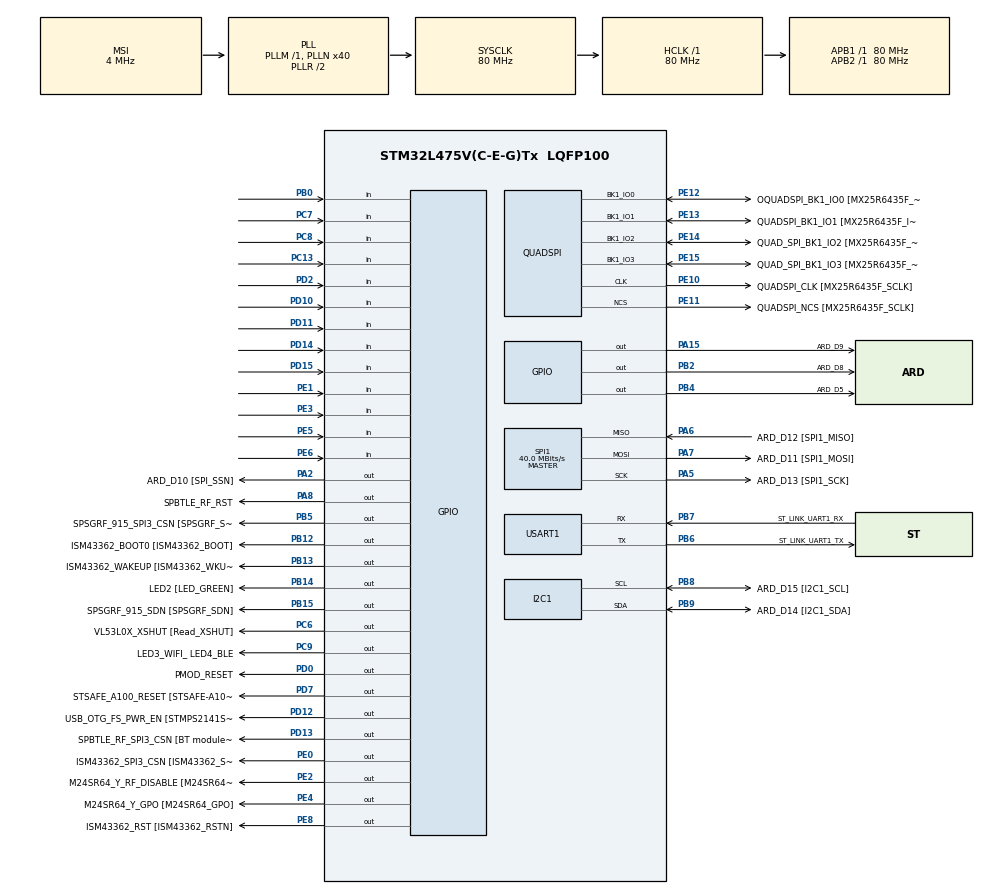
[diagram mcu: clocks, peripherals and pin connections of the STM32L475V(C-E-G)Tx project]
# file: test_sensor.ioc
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I2C1.Timing=0x10909CEC
Mcu.Family=STM32L4
Mcu.Name=STM32L475V(C-E-G)Tx
Mcu.Package=LQFP100
NVIC.PriorityGroup=NVIC_PRIORITYGROUP_4
NVIC.TIM6_DAC_IRQn=true\:0\:0\:false\:false\:true\:true\:true\:true
PA0.GPIO_Label=ARD_D1 [UART4_TX]
PA0.Signal=UART4_TX
PA1.GPIO_Label=ARD_D0 [UART4_RX]
PA1.Signal=UART4_RX
PA10.GPIO_Label=USB_OTG_FS_ID
PA10.Signal=USB_OTG_FS_ID
PA11.GPIO_Label=USB_OTG_FS_DM
PA11.Signal=USB_OTG_FS_DM
PA12.GPIO_Label=USB_OTG_FS_DP
PA12.Signal=USB_OTG_FS_DP
PA13\ (JTMS-SWDIO).GPIO_Label=SYS_JTMS_SWDIO
PA13\ (JTMS-SWDIO).Signal=SYS_JTMS-SWDIO
PA14\ (JTCK-SWCLK).GPIO_Label=SYS_JTCK_SWCLK
PA14\ (JTCK-SWCLK).Signal=SYS_JTCK-SWCLK
PA15\ (JTDI).GPIO_Label=ARD_D9
PA15\ (JTDI).Signal=GPIO_Output
PA2.GPIO_Label=ARD_D10 [SPI_SSN]
PA2.Signal=GPIO_Output
PA3.GPIO_Label=ARD_D4
PA3.Signal=S_TIM2_CH4
PA4.GPIO_Label=ARD_D7
PA4.Signal=ADCx_IN9
PA5.GPIO_Label=ARD_D13 [SPI1_SCK]
PA5.Mode=Full_Duplex_Master
PA5.Signal=SPI1_SCK
PA6.GPIO_Label=ARD_D12 [SPI1_MISO]
PA6.Mode=Full_Duplex_Master
PA6.Signal=SPI1_MISO
PA7.GPIO_Label=ARD_D11 [SPI1_MOSI]
PA7.Mode=Full_Duplex_Master
PA7.Signal=SPI1_MOSI
PA8.GPIO_Label=SPBTLE_RF_RST
PA8.Signal=GPIO_Output
PA9.GPIO_Label=USB_OTG_FS_VBUS [STMPS2141STR_OUT]
PA9.Signal=USB_OTG_FS_VBUS
PB0.Signal=GPIO_Input
PB1.GPIO_Label=ARD_D6 [ADC1_IN6]
PB1.Signal=ADCx_IN16
PB10.GPIO_Label=INTERNAL_I2C2_SCL [VL53L0X_SCL]
PB10.Signal=I2C2_SCL
PB11.GPIO_Label=INTERNAL_I2C2_SDA [VL53L0X_SDA]
PB11.Signal=I2C2_SDA
PB12.GPIO_Label=ISM43362_BOOT0 [ISM43362_BOOT]
PB12.Signal=GPIO_Output
PB13.GPIO_Label=ISM43362_WAKEUP [ISM43362_WKUP]
PB13.Signal=GPIO_Output
PB14.GPIO_Label=LED2 [LED_GREEN]
PB14.Signal=GPIO_Output
PB15.GPIO_Label=SPSGRF_915_SDN [SPSGRF_SDN]
PB15.Signal=GPIO_Output
PB2.GPIO_Label=ARD_D8
PB2.Signal=GPIO_Output
PB3\ (JTDO-TRACESWO).GPIO_Label=SYS_JTD0_SWO
PB3\ (JTDO-TRACESWO).Signal=SYS_JTDO-SWO
PB4\ (NJTRST).GPIO_Label=ARD_D5
PB4\ (NJTRST).Signal=GPIO_Output
PB5.GPIO_Label=SPSGRF_915_SPI3_CSN [SPSGRF_SPI_CS]
PB5.PinState=GPIO_PIN_SET
PB5.Signal=GPIO_Output
PB6.GPIO_Label=ST_LINK_UART1_TX
PB6.Mode=Asynchronous
PB6.Signal=USART1_TX
PB7.GPIO_Label=ST_LINK_UART1_RX
PB7.Mode=Asynchronous
PB7.Signal=USART1_RX
PB8.GPIO_Label=ARD_D15 [I2C1_SCL]
PB8.Mode=I2C
PB8.Signal=I2C1_SCL
PB9.GPIO_Label=ARD_D14 [I2C1_SDA]
PB9.Mode=I2C
PB9.Signal=I2C1_SDA
PC0.GPIO_Label=ARD_A5 [ADC]
PC0.Signal=ADCx_IN1
PC1.GPIO_Label=ARD_A4 [ADC]
PC1.Signal=ADCx_IN2
PC10.GPIO_Label=INTERNAL_SPI3_SCK [BT module_SPI_SCLK] [ISM43362_SCK]
PC10.Signal=SPI3_SCK
PC11.GPIO_Label=INTERNAL_SPI3_MISO [BT module_SPI_MISO] [ISM43362_MISO]
PC11.Signal=SPI3_MISO
PC12.GPIO_Label=INTERNAL_SPI3_MOSI [BT module_SPI_MOSI] [ISM43362_MOSI]
PC12.Signal=SPI3_MOSI
PC13.Signal=GPIO_Input
PC14-OSC32_IN\ (PC14).Signal=RCC_OSC32_IN
PC15-OSC32_OUT\ (PC15).Signal=RCC_OSC32_OUT
PC2.GPIO_Label=ARD_A3 [ADC]
PC2.Signal=ADCx_IN3
PC3.GPIO_Label=ARD_A2 [ADC]
PC3.Signal=ADCx_IN4
PC4.GPIO_Label=ARD_A1 [ADC]
PC4.Signal=ADCx_IN13
PC5.GPIO_Label=ARD_A0 [ADC]
PC5.Signal=ADCx_IN14
PC6.GPIO_Label=VL53L0X_XSHUT [Read_XSHUT]
PC6.Signal=GPIO_Output
PC7.Signal=GPIO_Input
PC8.Signal=GPIO_Input
PC9.GPIO_Label=LED3_WIFI_ LED4_BLE
PC9.Signal=GPIO_Output
PD0.GPIO_Label=PMOD_RESET
PD0.Signal=GPIO_Output
PD1.GPIO_Label=PMOD_SPI2_SCK
PD1.Signal=SPI2_SCK
PD10.Signal=GPIO_Input
PD11.Signal=GPIO_Input
PD12.GPIO_Label=USB_OTG_FS_PWR_EN [STMPS2141STR_EN]
PD12.Signal=GPIO_Output
PD13.GPIO_Label=SPBTLE_RF_SPI3_CSN [BT module_SPI_CS]
PD13.PinState=GPIO_PIN_SET
PD13.Signal=GPIO_Output
PD14.Signal=GPIO_Input
PD15.Signal=GPIO_Input
PD2.Signal=GPIO_Input
PD3.GPIO_Label=PMOD_UART2_CTS
PD3.Signal=USART2_CTS
PD4.GPIO_Label=PMOD_UART2_RTS
PD4.Signal=USART2_RTS
PD5.GPIO_Label=PMOD_UART2_TX
PD5.Signal=USART2_TX
PD6.GPIO_Label=PMOD_UART2_RX
PD6.Signal=USART2_RX
PD7.GPIO_Label=STSAFE_A100_RESET [STSAFE-A100_RESET]
PD7.Signal=GPIO_Output
PD8.GPIO_Label=INTERNAL_UART3_TX [ISM43362_RX]
PD8.Signal=USART3_TX
PD9.GPIO_Label=INTERNAL_UART3_RX [ISM43362_TX]
PD9.Signal=USART3_RX
PE0.GPIO_Label=ISM43362_SPI3_CSN [ISM43362_SSN]
PE0.PinState=GPIO_PIN_SET
PE0.Signal=GPIO_Output
PE1.Signal=GPIO_Input
PE10.GPIO_Label=QUADSPI_CLK [MX25R6435F_SCLK]
PE10.Mode=Single Bank
PE10.Signal=QUADSPI_CLK
PE11.GPIO_Label=QUADSPI_NCS [MX25R6435F_SCLK]
PE11.Mode=Single Bank
PE11.Signal=QUADSPI_NCS
PE12.GPIO_Label=OQUADSPI_BK1_IO0 [MX25R6435F_IO0]
PE12.Mode=Single Bank
PE12.Signal=QUADSPI_BK1_IO0
PE13.GPIO_Label=QUADSPI_BK1_IO1 [MX25R6435F_IO1]
PE13.Mode=Single Bank
PE13.Signal=QUADSPI_BK1_IO1
PE14.GPIO_Label=QUAD_SPI_BK1_IO2 [MX25R6435F_IO2]
PE14.Mode=Single Bank
PE14.Signal=QUADSPI_BK1_IO2
PE15.GPIO_Label=QUAD_SPI_BK1_IO3 [MX25R6435F_IO3]
PE15.Mode=Single Bank
PE15.Signal=QUADSPI_BK1_IO3
PE2.GPIO_Label=M24SR64_Y_RF_DISABLE [M24SR64_RFDIS]
PE2.Signal=GPIO_Output
PE3.Signal=GPIO_Input
PE4.GPIO_Label=M24SR64_Y_GPO [M24SR64_GPO]
PE4.Signal=GPIO_Output
PE5.Signal=GPIO_Input
PE6.Signal=GPIO_Input
PE7.GPIO_Label=DFSDM1_DATIN2 [MP34DT01_DOUT]
PE7.Signal=S_DATAIN2DFSDM1
PE8.GPIO_Label=ISM43362_RST [ISM43362_RSTN]
PE8.Signal=GPIO_Output
PE9.GPIO_Label=DFSDM1_CKOUT [MP34DT01_CLK]
PE9.Signal=S_CKOUTDFSDM1
ProjectManager.HeapSize=0x200
ProjectManager.StackSize=0x400
ProjectManager.TargetToolchain=STM32CubeIDE
RCC.ADCFreq_Value=48000000
RCC.AHBFreq_Value=80000000
RCC.APB1Freq_Value=80000000
RCC.APB1TimFreq_Value=80000000
RCC.APB2Freq_Value=80000000
RCC.APB2TimFreq_Value=80000000
RCC.CortexFreq_Value=80000000
RCC.HCLKFreq_Value=80000000
RCC.HSE_VALUE=8000000
RCC.HSI_VALUE=16000000
RCC.LSE_VALUE=32768
RCC.MSI_VALUE=4000000
RCC.PLLN=40
RCC.PLLSAI1N=24
RCC.SYSCLKFreq_VALUE=80000000
RCC.SYSCLKSource=RCC_SYSCLKSOURCE_PLLCLK
RCC.USBFreq_Value=48000000
RCC.VCOOutputFreq_Value=160000000
SH.ADCx_IN1.0=ADC1_IN1
SH.ADCx_IN13.0=ADC1_IN13
SH.ADCx_IN14.0=ADC1_IN14
SH.ADCx_IN16.0=ADC1_IN16
SH.ADCx_IN2.0=ADC1_IN2
SH.ADCx_IN3.0=ADC1_IN3
SH.ADCx_IN4.0=ADC1_IN4
SH.ADCx_IN9.0=ADC1_IN9
SH.S_CKOUTDFSDM1.0=DFSDM1_CKOUT
SH.S_DATAIN2DFSDM1.0=DFSDM1_DATIN2
SH.S_TIM2_CH4.0=TIM2_CH4
SPI1.CalculateBaudRate=40.0 MBits/s
SPI1.DataSize=SPI_DATASIZE_8BIT
SPI1.Direction=SPI_DIRECTION_2LINES
SPI1.Mode=SPI_MODE_MASTER
SPI1.VirtualType=VM_MASTER
TIM6.Period=500-1
TIM6.Prescaler=8000-1
USART1.VirtualMode-Asynchronous=VM_ASYNC
VP_TIM6_VS_ClockSourceINT.Mode=Enable_Timer
board=B-L475E-IOT01A1

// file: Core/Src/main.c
/* USER CODE BEGIN Header */
/**
  ******************************************************************************
  * @file           : main.c
  * @brief          : Main program body
  ******************************************************************************
  * @attention
  *author Negar Matin
  *
  ******************************************************************************
  */
/* USER CODE END Header */
#include "main.h"

/* USER CODE BEGIN Includes */
#include "button.h"
#include "led.h"

#ifdef __GNUC__
/* With GCC/RAISONANCE, small msg_info (option LD Linker->Libraries->Small msg_info
   set to 'Yes') calls __io_putchar() */
#define PUTCHAR_PROTOTYPE int __io_putchar(int ch)
#define GETCHAR_PROTOTYPE int __io_getchar(void)
#else
#define PUTCHAR_PROTOTYPE int fputc(int ch, FILE *f)
#define GETCHAR_PROTOTYPE int fgetc(FILE *f)
#endif /* __GNUC__ */
/* USER CODE END Includes */

/* USER CODE BEGIN PD */
  #define KEY_SAMPLE_PERIOD   50 //ms
/* USER CODE END PD */

I2C_HandleTypeDef hi2c1;

QSPI_HandleTypeDef hqspi;

SPI_HandleTypeDef hspi1;

TIM_HandleTypeDef htim6;

UART_HandleTypeDef huart1;

/* USER CODE BEGIN PV */
  extern UART_HandleTypeDef hDiscoUart;
  static const Key_PinConfig KEY_PIN_CONFIGS[] = {
    {BTN0_GPIO_Port, BTN0_Pin},
    //{BTN1_GPIO_Port, BTN1_Pin},
  };
#define KEY_LEN 1
static  Key keys[KEY_LEN] = {0};
static volatile uint32_t sensor_flag = 1;
uint8_t counter = 0;
/* USER CODE END PV */

void SystemClock_Config(void);
static void MX_GPIO_Init(void);
static void MX_TIM6_Init(void);
static void MX_I2C1_Init(void);
static void MX_QUADSPI_Init(void);
static void MX_SPI1_Init(void);
static void MX_USART1_UART_Init(void);
/* USER CODE BEGIN PFP */
uint8_t Btn0_onPressed(Key* key, Key_State state);

uint8_t Btn1_onPressed(Key* key, Key_State state);
uint8_t Btn1_onHold(Key* key, Key_State state);
uint8_t Btn1_onReleased(Key* key, Key_State state);
/* USER CODE END PFP */

int main(void)
{
  /* USER CODE BEGIN 1 */
  uint32_t next_scan = 0;
  uint32_t keyNextSample = 0;

  /* USER CODE END 1 */

  /* MCU Configuration--------------------------------------------------------*/

  /* Reset of all peripherals, Initializes the Flash interface and the Systick. */
  HAL_Init();

  /* USER CODE BEGIN Init */
  //SysTick_Config(SystemCoreClock/1000);
  /* USER CODE END Init */

  /* Configure the system clock */
  SystemClock_Config();

  /* Initialize all configured peripherals */
  MX_GPIO_Init();
  MX_TIM6_Init();
  MX_I2C1_Init();
  //MX_QUADSPI_Init();
  MX_SPI1_Init();
  MX_USART1_UART_Init();
  ILI9341_Init();
  /* USER CODE BEGIN 2 */
  /* Initialize all configured peripherals */
   hDiscoUart.Instance = DISCOVERY_COM1;
   hDiscoUart.Init.BaudRate = 115200;
   hDiscoUart.Init.WordLength = UART_WORDLENGTH_8B;
   hDiscoUart.Init.StopBits = UART_STOPBITS_1;
   hDiscoUart.Init.Parity = UART_PARITY_NONE;
   hDiscoUart.Init.Mode = UART_MODE_TX_RX;
   hDiscoUart.Init.HwFlowCtl = UART_HWCONTROL_NONE;
   hDiscoUart.Init.OverSampling = UART_OVERSAMPLING_16;
   hDiscoUart.Init.OneBitSampling = UART_ONE_BIT_SAMPLE_DISABLE;
   hDiscoUart.AdvancedInit.AdvFeatureInit = UART_ADVFEATURE_NO_INIT;

   BSP_COM_Init(COM1, &hDiscoUart);

   //printf("Press User button to put LED2 ON \n");
   //Btn_init(BTN0_GPIO_Port, BTN0_Pin);
   Led_init(LED2_GPIO_Port, LED2_Pin);
   Key_init(keys, KEY_PIN_CONFIGS, KEY_LEN);

   keys[0].Callbacks.onPressed = Btn0_onPressed;

//   keys[1].Callbacks.onPressed = Btn1_onPressed;
//   keys[1].Callbacks.onHold = Btn1_onHold;
//   keys[1].Callbacks.onReleased = Btn1_onReleased;
  /* USER CODE END 2 */

  /* Infinite loop */
  /* USER CODE BEGIN WHILE */
   HAL_TIM_Base_Start_IT(&htim6);

   ILI9341_Fill_Screen(GREEN);
   //ILI9341_Draw_Text("hello from negar ", 10, 10, BLACK, 2, GREEN);

  while (1)
  {
    /* USER CODE END WHILE */

    /* USER CODE BEGIN 3 */
//    if(next_scan <= HAL_GetTick()){
//      next_scan = HAL_GetTick() + 1000;
    if(sensor_flag != 0  ){

      switch(counter){
      case 0:
          Temperature_Test();
    //      Humidity_Test();
    //      Pressure_Test();
    //      Magneto_Test();
    //      Gyro_Test();
    //      Accelero_Test();
          //sensor_flag = 0;
          HAL_Delay(50);
          break;

      case 1:
    //      Temperature_Test();
          Humidity_Test();
    //      Pressure_Test();
    //      Magneto_Test();
    //      Gyro_Test();
    //      Accelero_Test();
          //sensor_flag = 0;
          HAL_Delay(50);
          break;

      case 2:
    //      Temperature_Test();
    //      Humidity_Test();
          Pressure_Test();
    //      Magneto_Test();
    //      Gyro_Test();
    //      Accelero_Test();
          //sensor_flag = 0;
          HAL_Delay(50);
          break;

      }
      sensor_flag = 0;
    }

//    if (Btn_read(BTN0_GPIO_Port, BTN0_Pin) == 0) {
//
//      // Debounce
//      HAL_Delay(50);
//      // Pressed
//      Led_toggle(LED2_GPIO_Port, LED2_Pin);
//      // Hold
//      while (Btn_read(BTN0_GPIO_Port, BTN0_Pin) == 0) {
//
//      }
//      // Released
//
//      // Debounce
//      HAL_Delay(50);
//
//    }

  }
  /* USER CODE END 3 */
}

void SystemClock_Config(void)
{
  RCC_OscInitTypeDef RCC_OscInitStruct = {0};
  RCC_ClkInitTypeDef RCC_ClkInitStruct = {0};

  /** Configure the main internal regulator output voltage
  */
  if (HAL_PWREx_ControlVoltageScaling(PWR_REGULATOR_VOLTAGE_SCALE1) != HAL_OK)
  {
    Error_Handler();
  }

  /** Initializes the RCC Oscillators according to the specified parameters
  * in the RCC_OscInitTypeDef structure.
  */
  RCC_OscInitStruct.OscillatorType = RCC_OSCILLATORTYPE_MSI;
  RCC_OscInitStruct.MSIState = RCC_MSI_ON;
  RCC_OscInitStruct.MSICalibrationValue = 0;
  RCC_OscInitStruct.MSIClockRange = RCC_MSIRANGE_6;
  RCC_OscInitStruct.PLL.PLLState = RCC_PLL_ON;
  RCC_OscInitStruct.PLL.PLLSource = RCC_PLLSOURCE_MSI;
  RCC_OscInitStruct.PLL.PLLM = 1;
  RCC_OscInitStruct.PLL.PLLN = 40;
  RCC_OscInitStruct.PLL.PLLP = RCC_PLLP_DIV7;
  RCC_OscInitStruct.PLL.PLLQ = RCC_PLLQ_DIV2;
  RCC_OscInitStruct.PLL.PLLR = RCC_PLLR_DIV2;
  if (HAL_RCC_OscConfig(&RCC_OscInitStruct) != HAL_OK)
  {
    Error_Handler();
  }

  /** Initializes the CPU, AHB and APB buses clocks
  */
  RCC_ClkInitStruct.ClockType = RCC_CLOCKTYPE_HCLK|RCC_CLOCKTYPE_SYSCLK
                              |RCC_CLOCKTYPE_PCLK1|RCC_CLOCKTYPE_PCLK2;
  RCC_ClkInitStruct.SYSCLKSource = RCC_SYSCLKSOURCE_PLLCLK;
  RCC_ClkInitStruct.AHBCLKDivider = RCC_SYSCLK_DIV1;
  RCC_ClkInitStruct.APB1CLKDivider = RCC_HCLK_DIV1;
  RCC_ClkInitStruct.APB2CLKDivider = RCC_HCLK_DIV1;

  if (HAL_RCC_ClockConfig(&RCC_ClkInitStruct, FLASH_LATENCY_4) != HAL_OK)
  {
    Error_Handler();
  }
}

static void MX_I2C1_Init(void)
{

  hi2c1.Instance = I2C1;
  hi2c1.Init.Timing = 0x10909CEC;
  hi2c1.Init.OwnAddress1 = 0;
  hi2c1.Init.AddressingMode = I2C_ADDRESSINGMODE_7BIT;
  hi2c1.Init.DualAddressMode = I2C_DUALADDRESS_DISABLE;
  hi2c1.Init.OwnAddress2 = 0;
  hi2c1.Init.OwnAddress2Masks = I2C_OA2_NOMASK;
  hi2c1.Init.GeneralCallMode = I2C_GENERALCALL_DISABLE;
  hi2c1.Init.NoStretchMode = I2C_NOSTRETCH_DISABLE;
  if (HAL_I2C_Init(&hi2c1) != HAL_OK)
  {
    Error_Handler();
  }

  /** Configure Analogue filter
  */
  if (HAL_I2CEx_ConfigAnalogFilter(&hi2c1, I2C_ANALOGFILTER_ENABLE) != HAL_OK)
  {
    Error_Handler();
  }

  /** Configure Digital filter
  */
  if (HAL_I2CEx_ConfigDigitalFilter(&hi2c1, 0) != HAL_OK)
  {
    Error_Handler();
  }

}

static void MX_QUADSPI_Init(void)
{

  /* QUADSPI parameter configuration*/
  hqspi.Instance = QUADSPI;
  hqspi.Init.ClockPrescaler = 255;
  hqspi.Init.FifoThreshold = 1;
  hqspi.Init.SampleShifting = QSPI_SAMPLE_SHIFTING_NONE;
  hqspi.Init.FlashSize = 1;
  hqspi.Init.ChipSelectHighTime = QSPI_CS_HIGH_TIME_1_CYCLE;
  hqspi.Init.ClockMode = QSPI_CLOCK_MODE_0;
  if (HAL_QSPI_Init(&hqspi) != HAL_OK)
  {
    Error_Handler();
  }

}

static void MX_SPI1_Init(void)
{

  /* SPI1 parameter configuration*/
//  hspi1.Instance = SPI1;
//  hspi1.Init.Mode = SPI_MODE_MASTER;
//  hspi1.Init.Direction = SPI_DIRECTION_2LINES;
//  hspi1.Init.DataSize = SPI_DATASIZE_4BIT;
//  hspi1.Init.CLKPolarity = SPI_POLARITY_LOW;
//  hspi1.Init.CLKPhase = SPI_PHASE_1EDGE;
//  hspi1.Init.NSS = SPI_NSS_SOFT;
//  hspi1.Init.BaudRatePrescaler = SPI_BAUDRATEPRESCALER_2;
//  hspi1.Init.FirstBit = SPI_FIRSTBIT_MSB;
//  hspi1.Init.TIMode = SPI_TIMODE_DISABLE;
//  hspi1.Init.CRCCalculation = SPI_CRCCALCULATION_DISABLE;
//  hspi1.Init.CRCPolynomial = 7;
//  hspi1.Init.CRCLength = SPI_CRC_LENGTH_DATASIZE;
//  hspi1.Init.NSSPMode = SPI_NSS_PULSE_ENABLE;
//  if (HAL_SPI_Init(&hspi1) != HAL_OK)
//  {
//    Error_Handler();
//  }

  //.............................
  hspi1.Instance = SPI1;
  hspi1.Init.Mode = SPI_MODE_MASTER;
  hspi1.Init.Direction = SPI_DIRECTION_2LINES;
  hspi1.Init.DataSize = SPI_DATASIZE_8BIT;
  hspi1.Init.CLKPolarity = SPI_POLARITY_LOW;
  hspi1.Init.CLKPhase = SPI_PHASE_1EDGE;
  hspi1.Init.NSS = SPI_NSS_SOFT;
  hspi1.Init.BaudRatePrescaler = SPI_BAUDRATEPRESCALER_8;
  hspi1.Init.FirstBit = SPI_FIRSTBIT_MSB;
  hspi1.Init.TIMode = SPI_TIMODE_DISABLE;
  hspi1.Init.CRCCalculation = SPI_CRCCALCULATION_DISABLE;
  hspi1.Init.CRCPolynomial = 7;
  hspi1.Init.CRCLength = SPI_CRC_LENGTH_DATASIZE;
  hspi1.Init.NSSPMode = SPI_NSS_PULSE_ENABLE;
  if (HAL_SPI_Init(&hspi1) != HAL_OK)
  {
    Error_Handler();
  }

}

static void MX_TIM6_Init(void)
{

  TIM_MasterConfigTypeDef sMasterConfig = {0};

  htim6.Instance = TIM6;
  htim6.Init.Prescaler = 8000-1;
  htim6.Init.CounterMode = TIM_COUNTERMODE_UP;
  htim6.Init.Period = 500-1;
  htim6.Init.AutoReloadPreload = TIM_AUTORELOAD_PRELOAD_DISABLE;
  if (HAL_TIM_Base_Init(&htim6) != HAL_OK)
  {
    Error_Handler();
  }
  sMasterConfig.MasterOutputTrigger = TIM_TRGO_RESET;
  sMasterConfig.MasterSlaveMode = TIM_MASTERSLAVEMODE_DISABLE;
  if (HAL_TIMEx_MasterConfigSynchronization(&htim6, &sMasterConfig) != HAL_OK)
  {
    Error_Handler();
  }

}

static void MX_USART1_UART_Init(void)
{

  huart1.Instance = USART1;
  huart1.Init.BaudRate = 115200;
  huart1.Init.WordLength = UART_WORDLENGTH_8B;
  huart1.Init.StopBits = UART_STOPBITS_1;
  huart1.Init.Parity = UART_PARITY_NONE;
  huart1.Init.Mode = UART_MODE_TX_RX;
  huart1.Init.HwFlowCtl = UART_HWCONTROL_NONE;
  huart1.Init.OverSampling = UART_OVERSAMPLING_16;
  huart1.Init.OneBitSampling = UART_ONE_BIT_SAMPLE_DISABLE;
  huart1.AdvancedInit.AdvFeatureInit = UART_ADVFEATURE_NO_INIT;
  if (HAL_UART_Init(&huart1) != HAL_OK)
  {
    Error_Handler();
  }

}

static void MX_GPIO_Init(void)
{
  GPIO_InitTypeDef GPIO_InitStruct = {0};

  /* GPIO Ports Clock Enable */
  __HAL_RCC_GPIOE_CLK_ENABLE();
  __HAL_RCC_GPIOC_CLK_ENABLE();
  __HAL_RCC_GPIOA_CLK_ENABLE();
  __HAL_RCC_GPIOB_CLK_ENABLE();
  __HAL_RCC_GPIOD_CLK_ENABLE();

  /*Configure GPIO pin Output Level */
  HAL_GPIO_WritePin(GPIOE, M24SR64_Y_RF_DISABLE_Pin|M24SR64_Y_GPO_Pin|ISM43362_RST_Pin, GPIO_PIN_RESET);

  /*Configure GPIO pin Output Level */
  //HAL_GPIO_WritePin(GPIOA, ARD_D10_Pin|SPBTLE_RF_RST_Pin|ARD_D9_Pin, GPIO_PIN_RESET);

  /*Configure GPIO pin Output Level */
  HAL_GPIO_WritePin(GPIOB, ARD_D8_Pin|ISM43362_BOOT0_Pin|ISM43362_WAKEUP_Pin|LED2_Pin
                          |SPSGRF_915_SDN_Pin|ARD_D5_Pin, GPIO_PIN_RESET);

  /*Configure GPIO pin Output Level */
  HAL_GPIO_WritePin(GPIOD, USB_OTG_FS_PWR_EN_Pin|PMOD_RESET_Pin|STSAFE_A100_RESET_Pin, GPIO_PIN_RESET);

  /*Configure GPIO pin Output Level */
  HAL_GPIO_WritePin(SPBTLE_RF_SPI3_CSN_GPIO_Port, SPBTLE_RF_SPI3_CSN_Pin, GPIO_PIN_SET);

  /*Configure GPIO pin Output Level */
  HAL_GPIO_WritePin(GPIOC, VL53L0X_XSHUT_Pin|LED3_WIFI__LED4_BLE_Pin, GPIO_PIN_RESET);

  /*Configure GPIO pin Output Level */
  HAL_GPIO_WritePin(SPSGRF_915_SPI3_CSN_GPIO_Port, SPSGRF_915_SPI3_CSN_Pin, GPIO_PIN_SET);

  /*Configure GPIO pin Output Level */
  HAL_GPIO_WritePin(ISM43362_SPI3_CSN_GPIO_Port, ISM43362_SPI3_CSN_Pin, GPIO_PIN_SET);

  /*Configure GPIO pins : M24SR64_Y_RF_DISABLE_Pin M24SR64_Y_GPO_Pin ISM43362_RST_Pin ISM43362_SPI3_CSN_Pin */
  GPIO_InitStruct.Pin = M24SR64_Y_RF_DISABLE_Pin|M24SR64_Y_GPO_Pin|ISM43362_RST_Pin|ISM43362_SPI3_CSN_Pin;
  GPIO_InitStruct.Mode = GPIO_MODE_OUTPUT_PP;
  GPIO_InitStruct.Pull = GPIO_NOPULL;
  GPIO_InitStruct.Speed = GPIO_SPEED_FREQ_LOW;
  HAL_GPIO_Init(GPIOE, &GPIO_InitStruct);

  /*Configure GPIO pins : PE3 PE5 PE6 PE1 */
  GPIO_InitStruct.Pin = GPIO_PIN_3|GPIO_PIN_5|GPIO_PIN_6|GPIO_PIN_1;
  GPIO_InitStruct.Mode = GPIO_MODE_INPUT;
  GPIO_InitStruct.Pull = GPIO_NOPULL;
  HAL_GPIO_Init(GPIOE, &GPIO_InitStruct);

  /*Configure GPIO pins : PC13 PC7 PC8 */
  GPIO_InitStruct.Pin = GPIO_PIN_13|GPIO_PIN_7|GPIO_PIN_8;
  GPIO_InitStruct.Mode = GPIO_MODE_INPUT;
  GPIO_InitStruct.Pull = GPIO_NOPULL;
  HAL_GPIO_Init(GPIOC, &GPIO_InitStruct);

  /*Configure GPIO pins : ARD_A5_Pin ARD_A4_Pin ARD_A3_Pin ARD_A2_Pin
                           ARD_A1_Pin ARD_A0_Pin */
//  GPIO_InitStruct.Pin = ARD_A5_Pin|ARD_A4_Pin|ARD_A3_Pin|ARD_A2_Pin
//                          |ARD_A1_Pin|ARD_A0_Pin;
//  GPIO_InitStruct.Mode = GPIO_MODE_ANALOG_ADC_CONTROL;
//  GPIO_InitStruct.Pull = GPIO_NOPULL;
//  HAL_GPIO_Init(GPIOC, &GPIO_InitStruct);

  /*Configure GPIO pins : ARD_D1_Pin ARD_D0_Pin */
  GPIO_InitStruct.Pin = ARD_D1_Pin|ARD_D0_Pin;
  GPIO_InitStruct.Mode = GPIO_MODE_AF_PP;
  GPIO_InitStruct.Pull = GPIO_NOPULL;
  GPIO_InitStruct.Speed = GPIO_SPEED_FREQ_VERY_HIGH;
  GPIO_InitStruct.Alternate = GPIO_AF8_UART4;
  HAL_GPIO_Init(GPIOA, &GPIO_InitStruct);

  /*Configure GPIO pins : ARD_D10_Pin SPBTLE_RF_RST_Pin ARD_D9_Pin */
  GPIO_InitStruct.Pin = ARD_D10_Pin|SPBTLE_RF_RST_Pin|ARD_D9_Pin;
  GPIO_InitStruct.Mode = GPIO_MODE_OUTPUT_PP;
  GPIO_InitStruct.Pull = GPIO_NOPULL;
  GPIO_InitStruct.Speed = GPIO_SPEED_FREQ_LOW;
  HAL_GPIO_Init(GPIOA, &GPIO_InitStruct);

  /*Configure GPIO pin : ARD_D4_Pin */
  GPIO_InitStruct.Pin = ARD_D4_Pin;
  GPIO_InitStruct.Mode = GPIO_MODE_AF_PP;
  GPIO_InitStruct.Pull = GPIO_NOPULL;
  GPIO_InitStruct.Speed = GPIO_SPEED_FREQ_LOW;
  GPIO_InitStruct.Alternate = GPIO_AF1_TIM2;
  HAL_GPIO_Init(ARD_D4_GPIO_Port, &GPIO_InitStruct);

  /*Configure GPIO pin : ARD_D7_Pin */
  GPIO_InitStruct.Pin = ARD_D7_Pin;
  GPIO_InitStruct.Mode = GPIO_MODE_ANALOG_ADC_CONTROL;
  GPIO_InitStruct.Pull = GPIO_NOPULL;
  HAL_GPIO_Init(ARD_D7_GPIO_Port, &GPIO_InitStruct);

  /*Configure GPIO pin : PB0 */
  GPIO_InitStruct.Pin = GPIO_PIN_0;
  GPIO_InitStruct.Mode = GPIO_MODE_INPUT;
  GPIO_InitStruct.Pull = GPIO_NOPULL;
  HAL_GPIO_Init(GPIOB, &GPIO_InitStruct);

  /*Configure GPIO pin : ARD_D6_Pin */
  GPIO_InitStruct.Pin = ARD_D6_Pin;
  GPIO_InitStruct.Mode = GPIO_MODE_ANALOG_ADC_CONTROL;
  GPIO_InitStruct.Pull = GPIO_NOPULL;
  HAL_GPIO_Init(ARD_D6_GPIO_Port, &GPIO_InitStruct);

  /*Configure GPIO pins : ARD_D8_Pin ISM43362_BOOT0_Pin ISM43362_WAKEUP_Pin LED2_Pin
                           SPSGRF_915_SDN_Pin ARD_D5_Pin SPSGRF_915_SPI3_CSN_Pin */
  GPIO_InitStruct.Pin = ARD_D8_Pin|ISM43362_BOOT0_Pin|ISM43362_WAKEUP_Pin|LED2_Pin
                          |SPSGRF_915_SDN_Pin|ARD_D5_Pin|SPSGRF_915_SPI3_CSN_Pin;
  GPIO_InitStruct.Mode = GPIO_MODE_OUTPUT_PP;
  GPIO_InitStruct.Pull = GPIO_NOPULL;
  GPIO_InitStruct.Speed = GPIO_SPEED_FREQ_LOW;
  HAL_GPIO_Init(GPIOB, &GPIO_InitStruct);

  /*Configure GPIO pins : DFSDM1_DATIN2_Pin DFSDM1_CKOUT_Pin */
  GPIO_InitStruct.Pin = DFSDM1_DATIN2_Pin|DFSDM1_CKOUT_Pin;
  GPIO_InitStruct.Mode = GPIO_MODE_AF_PP;
  GPIO_InitStruct.Pull = GPIO_NOPULL;
  GPIO_InitStruct.Speed = GPIO_SPEED_FREQ_LOW;
  GPIO_InitStruct.Alternate = GPIO_AF6_DFSDM1;
  HAL_GPIO_Init(GPIOE, &GPIO_InitStruct);

  /*Configure GPIO pins : INTERNAL_I2C2_SCL_Pin INTERNAL_I2C2_SDA_Pin */
  GPIO_InitStruct.Pin = INTERNAL_I2C2_SCL_Pin|INTERNAL_I2C2_SDA_Pin;
  GPIO_InitStruct.Mode = GPIO_MODE_AF_OD;
  GPIO_InitStruct.Pull = GPIO_NOPULL;
  GPIO_InitStruct.Speed = GPIO_SPEED_FREQ_VERY_HIGH;
  GPIO_InitStruct.Alternate = GPIO_AF4_I2C2;
  HAL_GPIO_Init(GPIOB, &GPIO_InitStruct);

  /*Configure GPIO pins : INTERNAL_UART3_TX_Pin INTERNAL_UART3_RX_Pin */
  GPIO_InitStruct.Pin = INTERNAL_UART3_TX_Pin|INTERNAL_UART3_RX_Pin;
  GPIO_InitStruct.Mode = GPIO_MODE_AF_PP;
  GPIO_InitStruct.Pull = GPIO_NOPULL;
  GPIO_InitStruct.Speed = GPIO_SPEED_FREQ_VERY_HIGH;
  GPIO_InitStruct.Alternate = GPIO_AF7_USART3;
  HAL_GPIO_Init(GPIOD, &GPIO_InitStruct);

  /*Configure GPIO pins : PD10 PD11 PD14 PD15
                           PD2 */
//  GPIO_InitStruct.Pin = GPIO_PIN_10|GPIO_PIN_11|GPIO_PIN_14|GPIO_PIN_15
//                          |GPIO_PIN_2;
//  GPIO_InitStruct.Mode = GPIO_MODE_INPUT;
//  GPIO_InitStruct.Pull = GPIO_NOPULL;
//  HAL_GPIO_Init(GPIOD, &GPIO_InitStruct);

  /*Configure GPIO pins : USB_OTG_FS_PWR_EN_Pin SPBTLE_RF_SPI3_CSN_Pin PMOD_RESET_Pin STSAFE_A100_RESET_Pin */
  GPIO_InitStruct.Pin = USB_OTG_FS_PWR_EN_Pin|SPBTLE_RF_SPI3_CSN_Pin|PMOD_RESET_Pin|STSAFE_A100_RESET_Pin;
  GPIO_InitStruct.Mode = GPIO_MODE_OUTPUT_PP;
  GPIO_InitStruct.Pull = GPIO_NOPULL;
  GPIO_InitStruct.Speed = GPIO_SPEED_FREQ_LOW;
  HAL_GPIO_Init(GPIOD, &GPIO_InitStruct);

  /*Configure GPIO pins : VL53L0X_XSHUT_Pin LED3_WIFI__LED4_BLE_Pin */
  GPIO_InitStruct.Pin = VL53L0X_XSHUT_Pin|LED3_WIFI__LED4_BLE_Pin;
  GPIO_InitStruct.Mode = GPIO_MODE_OUTPUT_PP;
  GPIO_InitStruct.Pull = GPIO_NOPULL;
  GPIO_InitStruct.Speed = GPIO_SPEED_FREQ_LOW;
  HAL_GPIO_Init(GPIOC, &GPIO_InitStruct);

  /*Configure GPIO pin : USB_OTG_FS_VBUS_Pin */
  GPIO_InitStruct.Pin = USB_OTG_FS_VBUS_Pin;
  GPIO_InitStruct.Mode = GPIO_MODE_INPUT;
  GPIO_InitStruct.Pull = GPIO_NOPULL;
  HAL_GPIO_Init(USB_OTG_FS_VBUS_GPIO_Port, &GPIO_InitStruct);

  /*Configure GPIO pins : USB_OTG_FS_ID_Pin USB_OTG_FS_DM_Pin USB_OTG_FS_DP_Pin */
  GPIO_InitStruct.Pin = USB_OTG_FS_ID_Pin|USB_OTG_FS_DM_Pin|USB_OTG_FS_DP_Pin;
  GPIO_InitStruct.Mode = GPIO_MODE_AF_PP;
  GPIO_InitStruct.Pull = GPIO_NOPULL;
  GPIO_InitStruct.Speed = GPIO_SPEED_FREQ_VERY_HIGH;
  GPIO_InitStruct.Alternate = GPIO_AF10_OTG_FS;
  HAL_GPIO_Init(GPIOA, &GPIO_InitStruct);

  /*Configure GPIO pins : INTERNAL_SPI3_SCK_Pin INTERNAL_SPI3_MISO_Pin INTERNAL_SPI3_MOSI_Pin */
  GPIO_InitStruct.Pin = INTERNAL_SPI3_SCK_Pin|INTERNAL_SPI3_MISO_Pin|INTERNAL_SPI3_MOSI_Pin;
  GPIO_InitStruct.Mode = GPIO_MODE_AF_PP;
  GPIO_InitStruct.Pull = GPIO_NOPULL;
  GPIO_InitStruct.Speed = GPIO_SPEED_FREQ_VERY_HIGH;
  GPIO_InitStruct.Alternate = GPIO_AF6_SPI3;
  HAL_GPIO_Init(GPIOC, &GPIO_InitStruct);

  /*Configure GPIO pin : PMOD_SPI2_SCK_Pin */
  GPIO_InitStruct.Pin = PMOD_SPI2_SCK_Pin;
  GPIO_InitStruct.Mode = GPIO_MODE_AF_PP;
  GPIO_InitStruct.Pull = GPIO_NOPULL;
  GPIO_InitStruct.Speed = GPIO_SPEED_FREQ_VERY_HIGH;
  GPIO_InitStruct.Alternate = GPIO_AF5_SPI2;
  HAL_GPIO_Init(PMOD_SPI2_SCK_GPIO_Port, &GPIO_InitStruct);

  /*Configure GPIO pins : PMOD_UART2_CTS_Pin PMOD_UART2_RTS_Pin PMOD_UART2_TX_Pin PMOD_UART2_RX_Pin */
  GPIO_InitStruct.Pin = PMOD_UART2_CTS_Pin|PMOD_UART2_RTS_Pin|PMOD_UART2_TX_Pin|PMOD_UART2_RX_Pin;
  GPIO_InitStruct.Mode = GPIO_MODE_AF_PP;
  GPIO_InitStruct.Pull = GPIO_NOPULL;
  GPIO_InitStruct.Speed = GPIO_SPEED_FREQ_VERY_HIGH;
  GPIO_InitStruct.Alternate = GPIO_AF7_USART2;
  HAL_GPIO_Init(GPIOD, &GPIO_InitStruct);

/* USER CODE BEGIN MX_GPIO_Init_2 */
//  __HAL_RCC_GPIOA_CLK_ENABLE();
//  __HAL_RCC_GPIOB_CLK_ENABLE();
//  __HAL_RCC_GPIOD_CLK_ENABLE();

  /*Configure GPIO pin Output Level */
  HAL_GPIO_WritePin(GPIOA, ILI9341_CS_Pin|ILI9341_DC_Pin, GPIO_PIN_SET);

  /*Configure GPIO pin Output Level */
  HAL_GPIO_WritePin(GPIOA, GPIO_PIN_4, GPIO_PIN_RESET);

  /*Configure GPIO pin Output Level */
  HAL_GPIO_WritePin(ILI9341_RST_GPIO_Port, ILI9341_RST_Pin, GPIO_PIN_SET);

  /*Configure GPIO pin Output Level */
  HAL_GPIO_WritePin(GPIOD, GPIO_PIN_8, GPIO_PIN_RESET);

  /*Configure GPIO pins : PAPin PA4 PAPin */
  GPIO_InitStruct.Pin = ILI9341_CS_Pin|GPIO_PIN_4|ILI9341_DC_Pin;
  GPIO_InitStruct.Mode = GPIO_MODE_OUTPUT_PP;
  GPIO_InitStruct.Pull = GPIO_NOPULL;
  GPIO_InitStruct.Speed = GPIO_SPEED_FREQ_LOW;
  HAL_GPIO_Init(GPIOA, &GPIO_InitStruct);

  /*Configure GPIO pin : PtPin */
  GPIO_InitStruct.Pin = ILI9341_RST_Pin;
  GPIO_InitStruct.Mode = GPIO_MODE_OUTPUT_PP;
  GPIO_InitStruct.Pull = GPIO_NOPULL;
  GPIO_InitStruct.Speed = GPIO_SPEED_FREQ_LOW;
  HAL_GPIO_Init(ILI9341_RST_GPIO_Port, &GPIO_InitStruct);

  /*Configure GPIO pin : PD8 */
  GPIO_InitStruct.Pin = GPIO_PIN_8;
  GPIO_InitStruct.Mode = GPIO_MODE_OUTPUT_PP;
  GPIO_InitStruct.Pull = GPIO_NOPULL;
  GPIO_InitStruct.Speed = GPIO_SPEED_FREQ_LOW;
  HAL_GPIO_Init(GPIOD, &GPIO_InitStruct);
/* USER CODE END MX_GPIO_Init_2 */
}

/* USER CODE BEGIN 4 */
void HAL_TIM_PeriodElapsedCallback(TIM_HandleTypeDef* htim){

  // check key state
  Key_handle(keys, KEY_LEN);

}

uint8_t Btn0_onPressed(Key* key, Key_State state) {
  //HAL_GPIO_TogglePin(LED0_GPIO_Port, LED0_Pin);
  sensor_flag = 1;
  Led_toggle(LED2_GPIO_Port, LED2_Pin);
  counter++;
  if(counter >= 3){
    counter = 0;
  }

  return 0;
}

//uint8_t Btn1_onPressed(Key* key, Key_State state) {
//  blinkTimeout = HAL_GetTick() + 3000;
//  HAL_GPIO_WritePin(LED1_GPIO_Port, LED1_Pin, GPIO_PIN_SET);
//  return 0;
//}
//uint8_t Btn1_onHold(Key* key, Key_State state) {
//  HAL_GPIO_TogglePin(LED1_GPIO_Port, LED1_Pin);
//
//  return blinkTimeout <= HAL_GetTick();
//}
//uint8_t Btn1_onReleased(Key* key, Key_State state) {
//  HAL_GPIO_WritePin(LED1_GPIO_Port, LED1_Pin, GPIO_PIN_RESET);
//  return 0;
//}
/**
  * @brief  Gets numeric values from the Hyperterminal.
  * @param  Maximum value allowed (value)
  * @retval The character received
  */
uint32_t Serial_Scanf(uint32_t value)
{
  uint16_t tmp = 0;

  tmp = getchar();

//  if (tmp > value)
//  {
//    printf("\n\r  !!! Please enter valid number between 0 and %lu \n", value);
//    return 0xFF;
//  }
  return tmp;
}

/**
  * @brief Retargets the C library msg_info function to the USART.
  * @param None
  * @retval None
  */
PUTCHAR_PROTOTYPE
{
  /* Place your implementation of fputc here */
  /* e.g. write a character to the serial port and Loop until the end of transmission */
  while (HAL_OK != HAL_UART_Transmit(&hDiscoUart, (uint8_t *) &ch, 1, 30000))
  {
    ;
  }
  return ch;
}

/**
  * @brief Retargets the C library scanf function to the USART.
  * @param None
  * @retval None
  */
GETCHAR_PROTOTYPE
{
  /* Place your implementation of fgetc here */
  /* e.g. readwrite a character to the USART2 and Loop until the end of transmission */
  uint8_t ch = 0;
  while (HAL_OK != HAL_UART_Receive(&hDiscoUart, (uint8_t *)&ch, 1, 30000))
  {
    ;
  }
  return ch;
}

/* USER CODE END 4 */

void Error_Handler(void)
{
  __disable_irq();
  while (1)
  {
  }
}
